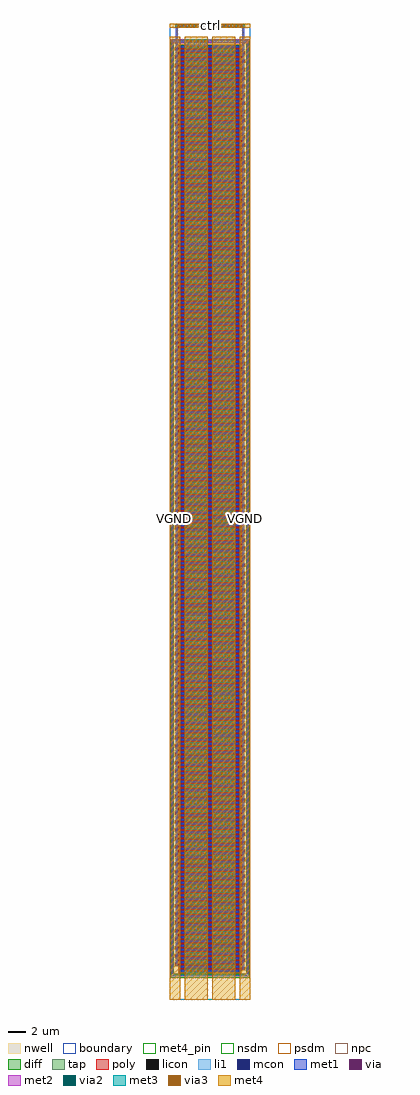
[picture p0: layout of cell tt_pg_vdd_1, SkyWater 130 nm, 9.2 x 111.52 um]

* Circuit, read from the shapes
.subckt tt_pg_vdd_1 GPWR VGND VPWR ctrl
XM1 GPWR ctrl VPWR VPWR sky130_fd_pr__pfet_01v8 w=7 l=0.15 m=220
.ends

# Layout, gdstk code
import gdstk
lib = gdstk.Library(unit=1e-6, precision=1e-09)
def R(c, l, rs):  # rectangles x0, y0, x1, y1
    for r in rs: c.add(gdstk.rectangle(r[:2], r[2:], *l))
def A(c, l, x, y, w, h, nx, ny, dx, dy):  # array of equal rectangles
    R(c, l, [(x+i*dx, y+j*dy, x+i*dx+w, y+j*dy+h) for i in range(nx) for j in range(ny)])
nwell = (64, 20)
diff = (65, 20)
tap = (65, 44)
poly = (66, 20)
licon = (66, 44)
li1 = (67, 20)
mcon = (67, 44)
met1 = (68, 20)
via = (68, 44)
met2 = (69, 20)
via2 = (69, 44)
met3 = (70, 20)
via3 = (70, 44)
met4_pin = (71, 16)
met4 = (71, 20)
nsdm = (93, 44)
psdm = (94, 20)
npc = (95, 20)
boundary = (235, 4)

tt_pg_vdd_1 = lib.new_cell('tt_pg_vdd_1')
R(tt_pg_vdd_1, nwell, [(0,2.45,9.19,109.72)])
R(tt_pg_vdd_1, diff, [(1.095,3.14,8.095,109.03)])
R(tt_pg_vdd_1, tap, [(0.18,2.63,9.01,2.8), (0.18,2.8,0.35,109.37), (8.84,2.8,9.01,109.37), (0.18,109.37,9.01,109.54)])
A(tt_pg_vdd_1, poly, 0.965, 3.45, 7.615, 0.15, 1, 110, 0, 0.96)
A(tt_pg_vdd_1, poly, 0.61, 3.93, 7.615, 0.15, 1, 110, 0, 0.96)
R(tt_pg_vdd_1, poly, [(8.25,3.36,8.58,3.45), (8.25,3.6,8.58,3.69), (0.61,3.84,0.94,3.93), (0.61,4.08,0.94,4.17), (8.25,4.32,8.58,4.41), (8.25,4.56,8.58,4.65), (0.61,4.8,0.94,4.89), (0.61,5.04,0.94,5.13), (8.25,5.28,8.58,5.37), (8.25,5.52,8.58,5.61), (0.61,5.76,0.94,5.85), (0.61,6,0.94,6.09), (8.25,6.24,8.58,6.33), (8.25,6.48,8.58,6.57), (0.61,6.72,0.94,6.81), (0.61,6.96,0.94,7.05), (8.25,7.2,8.58,7.29), (8.25,7.44,8.58,7.53), (0.61,7.68,0.94,7.77), (0.61,7.92,0.94,8.01), (8.25,8.16,8.58,8.25), (8.25,8.4,8.58,8.49), (0.61,8.64,0.94,8.73), (0.61,8.88,0.94,8.97), (8.25,9.12,8.58,9.21), (8.25,9.36,8.58,9.45), (0.61,9.6,0.94,9.69), (0.61,9.84,0.94,9.93), (8.25,10.08,8.58,10.17), (8.25,10.32,8.58,10.41), (0.61,10.56,0.94,10.65), (0.61,10.8,0.94,10.89), (8.25,11.04,8.58,11.13), (8.25,11.28,8.58,11.37), (0.61,11.52,0.94,11.61), (0.61,11.76,0.94,11.85), (8.25,12,8.58,12.09), (8.25,12.24,8.58,12.33), (0.61,12.48,0.94,12.57), (0.61,12.72,0.94,12.81), (8.25,12.96,8.58,13.05), (8.25,13.2,8.58,13.29), (0.61,13.44,0.94,13.53), (0.61,13.68,0.94,13.77), (8.25,13.92,8.58,14.01), (8.25,14.16,8.58,14.25), (0.61,14.4,0.94,14.49), (0.61,14.64,0.94,14.73), (8.25,14.88,8.58,14.97), (8.25,15.12,8.58,15.21), (0.61,15.36,0.94,15.45), (0.61,15.6,0.94,15.69), (8.25,15.84,8.58,15.93), (8.25,16.08,8.58,16.17), (0.61,16.32,0.94,16.41), (0.61,16.56,0.94,16.65), (8.25,16.8,8.58,16.89), (8.25,17.04,8.58,17.13), (0.61,17.28,0.94,17.37), (0.61,17.52,0.94,17.61), (8.25,17.76,8.58,17.85), (8.25,18,8.58,18.09), (0.61,18.24,0.94,18.33), (0.61,18.48,0.94,18.57), (8.25,18.72,8.58,18.81), (8.25,18.96,8.58,19.05), (0.61,19.2,0.94,19.29), (0.61,19.44,0.94,19.53), (8.25,19.68,8.58,19.77), (8.25,19.92,8.58,20.01), (0.61,20.16,0.94,20.25), (0.61,20.4,0.94,20.49), (8.25,20.64,8.58,20.73), (8.25,20.88,8.58,20.97), (0.61,21.12,0.94,21.21), (0.61,21.36,0.94,21.45), (8.25,21.6,8.58,21.69), (8.25,21.84,8.58,21.93), (0.61,22.08,0.94,22.17), (0.61,22.32,0.94,22.41), (8.25,22.56,8.58,22.65), (8.25,22.8,8.58,22.89), (0.61,23.04,0.94,23.13), (0.61,23.28,0.94,23.37), (8.25,23.52,8.58,23.61), (8.25,23.76,8.58,23.85), (0.61,24,0.94,24.09), (0.61,24.24,0.94,24.33), (8.25,24.48,8.58,24.57), (8.25,24.72,8.58,24.81), (0.61,24.96,0.94,25.05), (0.61,25.2,0.94,25.29), (8.25,25.44,8.58,25.53), (8.25,25.68,8.58,25.77), (0.61,25.92,0.94,26.01), (0.61,26.16,0.94,26.25), (8.25,26.4,8.58,26.49), (8.25,26.64,8.58,26.73), (0.61,26.88,0.94,26.97), (0.61,27.12,0.94,27.21), (8.25,27.36,8.58,27.45), (8.25,27.6,8.58,27.69), (0.61,27.84,0.94,27.93), (0.61,28.08,0.94,28.17), (8.25,28.32,8.58,28.41), (8.25,28.56,8.58,28.65), (0.61,28.8,0.94,28.89), (0.61,29.04,0.94,29.13), (8.25,29.28,8.58,29.37), (8.25,29.52,8.58,29.61), (0.61,29.76,0.94,29.85), (0.61,30,0.94,30.09), (8.25,30.24,8.58,30.33), (8.25,30.48,8.58,30.57), (0.61,30.72,0.94,30.81), (0.61,30.96,0.94,31.05), (8.25,31.2,8.58,31.29), (8.25,31.44,8.58,31.53), (0.61,31.68,0.94,31.77), (0.61,31.92,0.94,32.01), (8.25,32.16,8.58,32.25), (8.25,32.4,8.58,32.49), (0.61,32.64,0.94,32.73), (0.61,32.88,0.94,32.97), (8.25,33.12,8.58,33.21), (8.25,33.36,8.58,33.45), (0.61,33.6,0.94,33.69), (0.61,33.84,0.94,33.93), (8.25,34.08,8.58,34.17), (8.25,34.32,8.58,34.41), (0.61,34.56,0.94,34.65), (0.61,34.8,0.94,34.89), (8.25,35.04,8.58,35.13), (8.25,35.28,8.58,35.37), (0.61,35.52,0.94,35.61), (0.61,35.76,0.94,35.85), (8.25,36,8.58,36.09), (8.25,36.24,8.58,36.33), (0.61,36.48,0.94,36.57), (0.61,36.72,0.94,36.81), (8.25,36.96,8.58,37.05), (8.25,37.2,8.58,37.29), (0.61,37.44,0.94,37.53), (0.61,37.68,0.94,37.77), (8.25,37.92,8.58,38.01), (8.25,38.16,8.58,38.25), (0.61,38.4,0.94,38.49), (0.61,38.64,0.94,38.73), (8.25,38.88,8.58,38.97), (8.25,39.12,8.58,39.21), (0.61,39.36,0.94,39.45), (0.61,39.6,0.94,39.69), (8.25,39.84,8.58,39.93), (8.25,40.08,8.58,40.17), (0.61,40.32,0.94,40.41), (0.61,40.56,0.94,40.65), (8.25,40.8,8.58,40.89), (8.25,41.04,8.58,41.13), (0.61,41.28,0.94,41.37), (0.61,41.52,0.94,41.61), (8.25,41.76,8.58,41.85), (8.25,42,8.58,42.09), (0.61,42.24,0.94,42.33), (0.61,42.48,0.94,42.57), (8.25,42.72,8.58,42.81), (8.25,42.96,8.58,43.05), (0.61,43.2,0.94,43.29), (0.61,43.44,0.94,43.53), (8.25,43.68,8.58,43.77), (8.25,43.92,8.58,44.01), (0.61,44.16,0.94,44.25), (0.61,44.4,0.94,44.49), (8.25,44.64,8.58,44.73), (8.25,44.88,8.58,44.97), (0.61,45.12,0.94,45.21), (0.61,45.36,0.94,45.45), (8.25,45.6,8.58,45.69), (8.25,45.84,8.58,45.93), (0.61,46.08,0.94,46.17), (0.61,46.32,0.94,46.41), (8.25,46.56,8.58,46.65), (8.25,46.8,8.58,46.89), (0.61,47.04,0.94,47.13), (0.61,47.28,0.94,47.37), (8.25,47.52,8.58,47.61), (8.25,47.76,8.58,47.85), (0.61,48,0.94,48.09), (0.61,48.24,0.94,48.33), (8.25,48.48,8.58,48.57), (8.25,48.72,8.58,48.81), (0.61,48.96,0.94,49.05), (0.61,49.2,0.94,49.29), (8.25,49.44,8.58,49.53), (8.25,49.68,8.58,49.77), (0.61,49.92,0.94,50.01), (0.61,50.16,0.94,50.25), (8.25,50.4,8.58,50.49), (8.25,50.64,8.58,50.73), (0.61,50.88,0.94,50.97), (0.61,51.12,0.94,51.21), (8.25,51.36,8.58,51.45), (8.25,51.6,8.58,51.69), (0.61,51.84,0.94,51.93), (0.61,52.08,0.94,52.17), (8.25,52.32,8.58,52.41), (8.25,52.56,8.58,52.65), (0.61,52.8,0.94,52.89), (0.61,53.04,0.94,53.13), (8.25,53.28,8.58,53.37), (8.25,53.52,8.58,53.61), (0.61,53.76,0.94,53.85), (0.61,54,0.94,54.09), (8.25,54.24,8.58,54.33), (8.25,54.48,8.58,54.57), (0.61,54.72,0.94,54.81), (0.61,54.96,0.94,55.05), (8.25,55.2,8.58,55.29), (8.25,55.44,8.58,55.53), (0.61,55.68,0.94,55.77), (0.61,55.92,0.94,56.01), (8.25,56.16,8.58,56.25), (8.25,56.4,8.58,56.49), (0.61,56.64,0.94,56.73), (0.61,56.88,0.94,56.97), (8.25,57.12,8.58,57.21), (8.25,57.36,8.58,57.45), (0.61,57.6,0.94,57.69), (0.61,57.84,0.94,57.93), (8.25,58.08,8.58,58.17), (8.25,58.32,8.58,58.41), (0.61,58.56,0.94,58.65), (0.61,58.8,0.94,58.89), (8.25,59.04,8.58,59.13), (8.25,59.28,8.58,59.37), (0.61,59.52,0.94,59.61), (0.61,59.76,0.94,59.85), (8.25,60,8.58,60.09), (8.25,60.24,8.58,60.33), (0.61,60.48,0.94,60.57), (0.61,60.72,0.94,60.81), (8.25,60.96,8.58,61.05), (8.25,61.2,8.58,61.29), (0.61,61.44,0.94,61.53), (0.61,61.68,0.94,61.77), (8.25,61.92,8.58,62.01), (8.25,62.16,8.58,62.25), (0.61,62.4,0.94,62.49), (0.61,62.64,0.94,62.73), (8.25,62.88,8.58,62.97), (8.25,63.12,8.58,63.21), (0.61,63.36,0.94,63.45), (0.61,63.6,0.94,63.69), (8.25,63.84,8.58,63.93), (8.25,64.08,8.58,64.17), (0.61,64.32,0.94,64.41), (0.61,64.56,0.94,64.65), (8.25,64.8,8.58,64.89), (8.25,65.04,8.58,65.13), (0.61,65.28,0.94,65.37), (0.61,65.52,0.94,65.61), (8.25,65.76,8.58,65.85), (8.25,66,8.58,66.09), (0.61,66.24,0.94,66.33), (0.61,66.48,0.94,66.57), (8.25,66.72,8.58,66.81), (8.25,66.96,8.58,67.05), (0.61,67.2,0.94,67.29), (0.61,67.44,0.94,67.53), (8.25,67.68,8.58,67.77), (8.25,67.92,8.58,68.01), (0.61,68.16,0.94,68.25), (0.61,68.4,0.94,68.49), (8.25,68.64,8.58,68.73), (8.25,68.88,8.58,68.97), (0.61,69.12,0.94,69.21), (0.61,69.36,0.94,69.45), (8.25,69.6,8.58,69.69), (8.25,69.84,8.58,69.93), (0.61,70.08,0.94,70.17), (0.61,70.32,0.94,70.41), (8.25,70.56,8.58,70.65), (8.25,70.8,8.58,70.89), (0.61,71.04,0.94,71.13), (0.61,71.28,0.94,71.37), (8.25,71.52,8.58,71.61), (8.25,71.76,8.58,71.85), (0.61,72,0.94,72.09), (0.61,72.24,0.94,72.33), (8.25,72.48,8.58,72.57), (8.25,72.72,8.58,72.81), (0.61,72.96,0.94,73.05), (0.61,73.2,0.94,73.29), (8.25,73.44,8.58,73.53), (8.25,73.68,8.58,73.77), (0.61,73.92,0.94,74.01), (0.61,74.16,0.94,74.25), (8.25,74.4,8.58,74.49), (8.25,74.64,8.58,74.73), (0.61,74.88,0.94,74.97), (0.61,75.12,0.94,75.21), (8.25,75.36,8.58,75.45), (8.25,75.6,8.58,75.69), (0.61,75.84,0.94,75.93), (0.61,76.08,0.94,76.17), (8.25,76.32,8.58,76.41), (8.25,76.56,8.58,76.65), (0.61,76.8,0.94,76.89), (0.61,77.04,0.94,77.13), (8.25,77.28,8.58,77.37), (8.25,77.52,8.58,77.61), (0.61,77.76,0.94,77.85), (0.61,78,0.94,78.09), (8.25,78.24,8.58,78.33), (8.25,78.48,8.58,78.57), (0.61,78.72,0.94,78.81), (0.61,78.96,0.94,79.05), (8.25,79.2,8.58,79.29), (8.25,79.44,8.58,79.53), (0.61,79.68,0.94,79.77), (0.61,79.92,0.94,80.01), (8.25,80.16,8.58,80.25), (8.25,80.4,8.58,80.49), (0.61,80.64,0.94,80.73), (0.61,80.88,0.94,80.97), (8.25,81.12,8.58,81.21), (8.25,81.36,8.58,81.45), (0.61,81.6,0.94,81.69), (0.61,81.84,0.94,81.93), (8.25,82.08,8.58,82.17), (8.25,82.32,8.58,82.41), (0.61,82.56,0.94,82.65), (0.61,82.8,0.94,82.89), (8.25,83.04,8.58,83.13), (8.25,83.28,8.58,83.37), (0.61,83.52,0.94,83.61), (0.61,83.76,0.94,83.85), (8.25,84,8.58,84.09), (8.25,84.24,8.58,84.33), (0.61,84.48,0.94,84.57), (0.61,84.72,0.94,84.81), (8.25,84.96,8.58,85.05), (8.25,85.2,8.58,85.29), (0.61,85.44,0.94,85.53), (0.61,85.68,0.94,85.77), (8.25,85.92,8.58,86.01), (8.25,86.16,8.58,86.25), (0.61,86.4,0.94,86.49), (0.61,86.64,0.94,86.73), (8.25,86.88,8.58,86.97), (8.25,87.12,8.58,87.21), (0.61,87.36,0.94,87.45), (0.61,87.6,0.94,87.69), (8.25,87.84,8.58,87.93), (8.25,88.08,8.58,88.17), (0.61,88.32,0.94,88.41), (0.61,88.56,0.94,88.65), (8.25,88.8,8.58,88.89), (8.25,89.04,8.58,89.13), (0.61,89.28,0.94,89.37), (0.61,89.52,0.94,89.61), (8.25,89.76,8.58,89.85), (8.25,90,8.58,90.09), (0.61,90.24,0.94,90.33), (0.61,90.48,0.94,90.57), (8.25,90.72,8.58,90.81), (8.25,90.96,8.58,91.05), (0.61,91.2,0.94,91.29), (0.61,91.44,0.94,91.53), (8.25,91.68,8.58,91.77), (8.25,91.92,8.58,92.01), (0.61,92.16,0.94,92.25), (0.61,92.4,0.94,92.49), (8.25,92.64,8.58,92.73), (8.25,92.88,8.58,92.97), (0.61,93.12,0.94,93.21), (0.61,93.36,0.94,93.45), (8.25,93.6,8.58,93.69), (8.25,93.84,8.58,93.93), (0.61,94.08,0.94,94.17), (0.61,94.32,0.94,94.41), (8.25,94.56,8.58,94.65), (8.25,94.8,8.58,94.89), (0.61,95.04,0.94,95.13), (0.61,95.28,0.94,95.37), (8.25,95.52,8.58,95.61), (8.25,95.76,8.58,95.85), (0.61,96,0.94,96.09), (0.61,96.24,0.94,96.33), (8.25,96.48,8.58,96.57), (8.25,96.72,8.58,96.81), (0.61,96.96,0.94,97.05), (0.61,97.2,0.94,97.29), (8.25,97.44,8.58,97.53), (8.25,97.68,8.58,97.77), (0.61,97.92,0.94,98.01), (0.61,98.16,0.94,98.25), (8.25,98.4,8.58,98.49), (8.25,98.64,8.58,98.73), (0.61,98.88,0.94,98.97), (0.61,99.12,0.94,99.21), (8.25,99.36,8.58,99.45), (8.25,99.6,8.58,99.69), (0.61,99.84,0.94,99.93), (0.61,100.08,0.94,100.17), (8.25,100.32,8.58,100.41), (8.25,100.56,8.58,100.65), (0.61,100.8,0.94,100.89), (0.61,101.04,0.94,101.13), (8.25,101.28,8.58,101.37), (8.25,101.52,8.58,101.61), (0.61,101.76,0.94,101.85), (0.61,102,0.94,102.09), (8.25,102.24,8.58,102.33), (8.25,102.48,8.58,102.57), (0.61,102.72,0.94,102.81), (0.61,102.96,0.94,103.05), (8.25,103.2,8.58,103.29), (8.25,103.44,8.58,103.53), (0.61,103.68,0.94,103.77), (0.61,103.92,0.94,104.01), (8.25,104.16,8.58,104.25), (8.25,104.4,8.58,104.49), (0.61,104.64,0.94,104.73), (0.61,104.88,0.94,104.97), (8.25,105.12,8.58,105.21), (8.25,105.36,8.58,105.45), (0.61,105.6,0.94,105.69), (0.61,105.84,0.94,105.93), (8.25,106.08,8.58,106.17), (8.25,106.32,8.58,106.41), (0.61,106.56,0.94,106.65), (0.61,106.8,0.94,106.89), (8.25,107.04,8.58,107.13), (8.25,107.28,8.58,107.37), (0.61,107.52,0.94,107.61), (0.61,107.76,0.94,107.85), (8.25,108,8.58,108.09), (8.25,108.24,8.58,108.33), (0.61,108.48,0.94,108.57), (0.61,108.72,0.94,108.81)])
A(tt_pg_vdd_1, licon, 0.77, 2.63, 0.17, 0.17, 23, 2, 0.34, 106.74)
A(tt_pg_vdd_1, licon, 0.18, 3.13, 0.17, 0.17, 1, 312, 0, 0.34)
A(tt_pg_vdd_1, licon, 8.84, 3.13, 0.17, 0.17, 1, 312, 0, 0.34)
A(tt_pg_vdd_1, licon, 1.28, 3.2, 0.17, 0.17, 20, 221, 0.34, 0.48)
A(tt_pg_vdd_1, licon, 8.33, 3.44, 0.17, 0.17, 1, 110, 0, 0.96)
A(tt_pg_vdd_1, licon, 0.69, 3.92, 0.17, 0.17, 1, 110, 0, 0.96)
A(tt_pg_vdd_1, li1, 1.075, 3.2, 7.04, 0.17, 1, 221, 0, 0.48)
A(tt_pg_vdd_1, li1, 8.33, 3.36, 0.17, 0.33, 1, 110, 0, 0.96)
A(tt_pg_vdd_1, li1, 0.69, 3.84, 0.17, 0.33, 1, 110, 0, 0.96)
R(tt_pg_vdd_1, li1, [(0.18,2.63,9.01,2.8), (0.18,2.8,0.35,109.37), (8.84,2.8,9.01,109.37), (1.64,109.34,4.41,109.37), (0.18,109.37,9.01,109.54), (1.64,109.54,4.41,109.66)])
A(tt_pg_vdd_1, mcon, 0.18, 3.08, 0.17, 0.17, 1, 295, 0, 0.36)
A(tt_pg_vdd_1, mcon, 8.84, 3.08, 0.17, 0.17, 1, 295, 0, 0.36)
A(tt_pg_vdd_1, mcon, 1.27, 3.2, 0.17, 0.17, 19, 221, 0.36, 0.48)
A(tt_pg_vdd_1, mcon, 8.33, 3.44, 0.17, 0.17, 1, 110, 0, 0.96)
A(tt_pg_vdd_1, mcon, 0.69, 3.92, 0.17, 0.17, 1, 110, 0, 0.96)
A(tt_pg_vdd_1, mcon, 1.68, 109.415, 0.17, 0.17, 8, 1, 0.36, 0)
A(tt_pg_vdd_1, met1, 1.095, 3.17, 7, 0.23, 1, 221, 0, 0.48)
R(tt_pg_vdd_1, met1, [(0.15,2.94,0.38,109.31), (8.81,2.94,9.04,109.31), (1.71,3.12,4.34,3.17), (8.3,3.38,8.53,111.02), (1.71,3.4,4.34,3.45), (4.85,3.6,7.5,3.65), (0.66,3.86,0.89,111.02), (4.85,3.88,7.5,3.93), (1.71,4.08,4.34,4.13), (1.71,4.36,4.34,4.41), (4.85,4.56,7.5,4.61), (4.85,4.84,7.5,4.89), (1.71,5.04,4.34,5.09), (1.71,5.32,4.34,5.37), (4.85,5.52,7.5,5.57), (4.85,5.8,7.5,5.85), (1.71,6,4.34,6.05), (1.71,6.28,4.34,6.33), (4.85,6.48,7.5,6.53), (4.85,6.76,7.5,6.81), (1.71,6.96,4.34,7.01), (1.71,7.24,4.34,7.29), (4.85,7.44,7.5,7.49), (4.85,7.72,7.5,7.77), (1.71,7.92,4.34,7.97), (1.71,8.2,4.34,8.25), (4.85,8.4,7.5,8.45), (4.85,8.68,7.5,8.73), (1.71,8.88,4.34,8.93), (1.71,9.16,4.34,9.21), (4.85,9.36,7.5,9.41), (4.85,9.64,7.5,9.69), (1.71,9.84,4.34,9.89), (1.71,10.12,4.34,10.17), (4.85,10.32,7.5,10.37), (4.85,10.6,7.5,10.65), (1.71,10.8,4.34,10.85), (1.71,11.08,4.34,11.13), (4.85,11.28,7.5,11.33), (4.85,11.56,7.5,11.61), (1.71,11.76,4.34,11.81), (1.71,12.04,4.34,12.09), (4.85,12.24,7.5,12.29), (4.85,12.52,7.5,12.57), (1.71,12.72,4.34,12.77), (1.71,13,4.34,13.05), (4.85,13.2,7.5,13.25), (4.85,13.48,7.5,13.53), (1.71,13.68,4.34,13.73), (1.71,13.96,4.34,14.01), (4.85,14.16,7.5,14.21), (4.85,14.44,7.5,14.49), (1.71,14.64,4.34,14.69), (1.71,14.92,4.34,14.97), (4.85,15.12,7.5,15.17), (4.85,15.4,7.5,15.45), (1.71,15.6,4.34,15.65), (1.71,15.88,4.34,15.93), (4.85,16.08,7.5,16.13), (4.85,16.36,7.5,16.41), (1.71,16.56,4.34,16.61), (1.71,16.84,4.34,16.89), (4.85,17.04,7.5,17.09), (4.85,17.32,7.5,17.37), (1.71,17.52,4.34,17.57), (1.71,17.8,4.34,17.85), (4.85,18,7.5,18.05), (4.85,18.28,7.5,18.33), (1.71,18.48,4.34,18.53), (1.71,18.76,4.34,18.81), (4.85,18.96,7.5,19.01), (4.85,19.24,7.5,19.29), (1.71,19.44,4.34,19.49), (1.71,19.72,4.34,19.77), (4.85,19.92,7.5,19.97), (4.85,20.2,7.5,20.25), (1.71,20.4,4.34,20.45), (1.71,20.68,4.34,20.73), (4.85,20.88,7.5,20.93), (4.85,21.16,7.5,21.21), (1.71,21.36,4.34,21.41), (1.71,21.64,4.34,21.69), (4.85,21.84,7.5,21.89), (4.85,22.12,7.5,22.17), (1.71,22.32,4.34,22.37), (1.71,22.6,4.34,22.65), (4.85,22.8,7.5,22.85), (4.85,23.08,7.5,23.13), (1.71,23.28,4.34,23.33), (1.71,23.56,4.34,23.61), (4.85,23.76,7.5,23.81), (4.85,24.04,7.5,24.09), (1.71,24.24,4.34,24.29), (1.71,24.52,4.34,24.57), (4.85,24.72,7.5,24.77), (4.85,25,7.5,25.05), (1.71,25.2,4.34,25.25), (1.71,25.48,4.34,25.53), (4.85,25.68,7.5,25.73), (4.85,25.96,7.5,26.01), (1.71,26.16,4.34,26.21), (1.71,26.44,4.34,26.49), (4.85,26.64,7.5,26.69), (4.85,26.92,7.5,26.97), (1.71,27.12,4.34,27.17), (1.71,27.4,4.34,27.45), (4.85,27.6,7.5,27.65), (4.85,27.88,7.5,27.93), (1.71,28.08,4.34,28.13), (1.71,28.36,4.34,28.41), (4.85,28.56,7.5,28.61), (4.85,28.84,7.5,28.89), (1.71,29.04,4.34,29.09), (1.71,29.32,4.34,29.37), (4.85,29.52,7.5,29.57), (4.85,29.8,7.5,29.85), (1.71,30,4.34,30.05), (1.71,30.28,4.34,30.33), (4.85,30.48,7.5,30.53), (4.85,30.76,7.5,30.81), (1.71,30.96,4.34,31.01), (1.71,31.24,4.34,31.29), (4.85,31.44,7.5,31.49), (4.85,31.72,7.5,31.77), (1.71,31.92,4.34,31.97), (1.71,32.2,4.34,32.25), (4.85,32.4,7.5,32.45), (4.85,32.68,7.5,32.73), (1.71,32.88,4.34,32.93), (1.71,33.16,4.34,33.21), (4.85,33.36,7.5,33.41), (4.85,33.64,7.5,33.69), (1.71,33.84,4.34,33.89), (1.71,34.12,4.34,34.17), (4.85,34.32,7.5,34.37), (4.85,34.6,7.5,34.65), (1.71,34.8,4.34,34.85), (1.71,35.08,4.34,35.13), (4.85,35.28,7.5,35.33), (4.85,35.56,7.5,35.61), (1.71,35.76,4.34,35.81), (1.71,36.04,4.34,36.09), (4.85,36.24,7.5,36.29), (4.85,36.52,7.5,36.57), (1.71,36.72,4.34,36.77), (1.71,37,4.34,37.05), (4.85,37.2,7.5,37.25), (4.85,37.48,7.5,37.53), (1.71,37.68,4.34,37.73), (1.71,37.96,4.34,38.01), (4.85,38.16,7.5,38.21), (4.85,38.44,7.5,38.49), (1.71,38.64,4.34,38.69), (1.71,38.92,4.34,38.97), (4.85,39.12,7.5,39.17), (4.85,39.4,7.5,39.45), (1.71,39.6,4.34,39.65), (1.71,39.88,4.34,39.93), (4.85,40.08,7.5,40.13), (4.85,40.36,7.5,40.41), (1.71,40.56,4.34,40.61), (1.71,40.84,4.34,40.89), (4.85,41.04,7.5,41.09), (4.85,41.32,7.5,41.37), (1.71,41.52,4.34,41.57), (1.71,41.8,4.34,41.85), (4.85,42,7.5,42.05), (4.85,42.28,7.5,42.33), (1.71,42.48,4.34,42.53), (1.71,42.76,4.34,42.81), (4.85,42.96,7.5,43.01), (4.85,43.24,7.5,43.29), (1.71,43.44,4.34,43.49), (1.71,43.72,4.34,43.77), (4.85,43.92,7.5,43.97), (4.85,44.2,7.5,44.25), (1.71,44.4,4.34,44.45), (1.71,44.68,4.34,44.73), (4.85,44.88,7.5,44.93), (4.85,45.16,7.5,45.21), (1.71,45.36,4.34,45.41), (1.71,45.64,4.34,45.69), (4.85,45.84,7.5,45.89), (4.85,46.12,7.5,46.17), (1.71,46.32,4.34,46.37), (1.71,46.6,4.34,46.65), (4.85,46.8,7.5,46.85), (4.85,47.08,7.5,47.13), (1.71,47.28,4.34,47.33), (1.71,47.56,4.34,47.61), (4.85,47.76,7.5,47.81), (4.85,48.04,7.5,48.09), (1.71,48.24,4.34,48.29), (1.71,48.52,4.34,48.57), (4.85,48.72,7.5,48.77), (4.85,49,7.5,49.05), (1.71,49.2,4.34,49.25), (1.71,49.48,4.34,49.53), (4.85,49.68,7.5,49.73), (4.85,49.96,7.5,50.01), (1.71,50.16,4.34,50.21), (1.71,50.44,4.34,50.49), (4.85,50.64,7.5,50.69), (4.85,50.92,7.5,50.97), (1.71,51.12,4.34,51.17), (1.71,51.4,4.34,51.45), (4.85,51.6,7.5,51.65), (4.85,51.88,7.5,51.93), (1.71,52.08,4.34,52.13), (1.71,52.36,4.34,52.41), (4.85,52.56,7.5,52.61), (4.85,52.84,7.5,52.89), (1.71,53.04,4.34,53.09), (1.71,53.32,4.34,53.37), (4.85,53.52,7.5,53.57), (4.85,53.8,7.5,53.85), (1.71,54,4.34,54.05), (1.71,54.28,4.34,54.33), (4.85,54.48,7.5,54.53), (4.85,54.76,7.5,54.81), (1.71,54.96,4.34,55.01), (1.71,55.24,4.34,55.29), (4.85,55.44,7.5,55.49), (4.85,55.72,7.5,55.77), (1.71,55.92,4.34,55.97), (1.71,56.2,4.34,56.25), (4.85,56.4,7.5,56.45), (4.85,56.68,7.5,56.73), (1.71,56.88,4.34,56.93), (1.71,57.16,4.34,57.21), (4.85,57.36,7.5,57.41), (4.85,57.64,7.5,57.69), (1.71,57.84,4.34,57.89), (1.71,58.12,4.34,58.17), (4.85,58.32,7.5,58.37), (4.85,58.6,7.5,58.65), (1.71,58.8,4.34,58.85), (1.71,59.08,4.34,59.13), (4.85,59.28,7.5,59.33), (4.85,59.56,7.5,59.61), (1.71,59.76,4.34,59.81), (1.71,60.04,4.34,60.09), (4.85,60.24,7.5,60.29), (4.85,60.52,7.5,60.57), (1.71,60.72,4.34,60.77), (1.71,61,4.34,61.05), (4.85,61.2,7.5,61.25), (4.85,61.48,7.5,61.53), (1.71,61.68,4.34,61.73), (1.71,61.96,4.34,62.01), (4.85,62.16,7.5,62.21), (4.85,62.44,7.5,62.49), (1.71,62.64,4.34,62.69), (1.71,62.92,4.34,62.97), (4.85,63.12,7.5,63.17), (4.85,63.4,7.5,63.45), (1.71,63.6,4.34,63.65), (1.71,63.88,4.34,63.93), (4.85,64.08,7.5,64.13), (4.85,64.36,7.5,64.41), (1.71,64.56,4.34,64.61), (1.71,64.84,4.34,64.89), (4.85,65.04,7.5,65.09), (4.85,65.32,7.5,65.37), (1.71,65.52,4.34,65.57), (1.71,65.8,4.34,65.85), (4.85,66,7.5,66.05), (4.85,66.28,7.5,66.33), (1.71,66.48,4.34,66.53), (1.71,66.76,4.34,66.81), (4.85,66.96,7.5,67.01), (4.85,67.24,7.5,67.29), (1.71,67.44,4.34,67.49), (1.71,67.72,4.34,67.77), (4.85,67.92,7.5,67.97), (4.85,68.2,7.5,68.25), (1.71,68.4,4.34,68.45), (1.71,68.68,4.34,68.73), (4.85,68.88,7.5,68.93), (4.85,69.16,7.5,69.21), (1.71,69.36,4.34,69.41), (1.71,69.64,4.34,69.69), (4.85,69.84,7.5,69.89), (4.85,70.12,7.5,70.17), (1.71,70.32,4.34,70.37), (1.71,70.6,4.34,70.65), (4.85,70.8,7.5,70.85), (4.85,71.08,7.5,71.13), (1.71,71.28,4.34,71.33), (1.71,71.56,4.34,71.61), (4.85,71.76,7.5,71.81), (4.85,72.04,7.5,72.09), (1.71,72.24,4.34,72.29), (1.71,72.52,4.34,72.57), (4.85,72.72,7.5,72.77), (4.85,73,7.5,73.05), (1.71,73.2,4.34,73.25), (1.71,73.48,4.34,73.53), (4.85,73.68,7.5,73.73), (4.85,73.96,7.5,74.01), (1.71,74.16,4.34,74.21), (1.71,74.44,4.34,74.49), (4.85,74.64,7.5,74.69), (4.85,74.92,7.5,74.97), (1.71,75.12,4.34,75.17), (1.71,75.4,4.34,75.45), (4.85,75.6,7.5,75.65), (4.85,75.88,7.5,75.93), (1.71,76.08,4.34,76.13), (1.71,76.36,4.34,76.41), (4.85,76.56,7.5,76.61), (4.85,76.84,7.5,76.89), (1.71,77.04,4.34,77.09), (1.71,77.32,4.34,77.37), (4.85,77.52,7.5,77.57), (4.85,77.8,7.5,77.85), (1.71,78,4.34,78.05), (1.71,78.28,4.34,78.33), (4.85,78.48,7.5,78.53), (4.85,78.76,7.5,78.81), (1.71,78.96,4.34,79.01), (1.71,79.24,4.34,79.29), (4.85,79.44,7.5,79.49), (4.85,79.72,7.5,79.77), (1.71,79.92,4.34,79.97), (1.71,80.2,4.34,80.25), (4.85,80.4,7.5,80.45), (4.85,80.68,7.5,80.73), (1.71,80.88,4.34,80.93), (1.71,81.16,4.34,81.21), (4.85,81.36,7.5,81.41), (4.85,81.64,7.5,81.69), (1.71,81.84,4.34,81.89), (1.71,82.12,4.34,82.17), (4.85,82.32,7.5,82.37), (4.85,82.6,7.5,82.65), (1.71,82.8,4.34,82.85), (1.71,83.08,4.34,83.13), (4.85,83.28,7.5,83.33), (4.85,83.56,7.5,83.61), (1.71,83.76,4.34,83.81), (1.71,84.04,4.34,84.09), (4.85,84.24,7.5,84.29), (4.85,84.52,7.5,84.57), (1.71,84.72,4.34,84.77), (1.71,85,4.34,85.05), (4.85,85.2,7.5,85.25), (4.85,85.48,7.5,85.53), (1.71,85.68,4.34,85.73), (1.71,85.96,4.34,86.01), (4.85,86.16,7.5,86.21), (4.85,86.44,7.5,86.49), (1.71,86.64,4.34,86.69), (1.71,86.92,4.34,86.97), (4.85,87.12,7.5,87.17), (4.85,87.4,7.5,87.45), (1.71,87.6,4.34,87.65), (1.71,87.88,4.34,87.93), (4.85,88.08,7.5,88.13), (4.85,88.36,7.5,88.41), (1.71,88.56,4.34,88.61), (1.71,88.84,4.34,88.89), (4.85,89.04,7.5,89.09), (4.85,89.32,7.5,89.37), (1.71,89.52,4.34,89.57), (1.71,89.8,4.34,89.85), (4.85,90,7.5,90.05), (4.85,90.28,7.5,90.33), (1.71,90.48,4.34,90.53), (1.71,90.76,4.34,90.81), (4.85,90.96,7.5,91.01), (4.85,91.24,7.5,91.29), (1.71,91.44,4.34,91.49), (1.71,91.72,4.34,91.77), (4.85,91.92,7.5,91.97), (4.85,92.2,7.5,92.25), (1.71,92.4,4.34,92.45), (1.71,92.68,4.34,92.73), (4.85,92.88,7.5,92.93), (4.85,93.16,7.5,93.21), (1.71,93.36,4.34,93.41), (1.71,93.64,4.34,93.69), (4.85,93.84,7.5,93.89), (4.85,94.12,7.5,94.17), (1.71,94.32,4.34,94.37), (1.71,94.6,4.34,94.65), (4.85,94.8,7.5,94.85), (4.85,95.08,7.5,95.13), (1.71,95.28,4.34,95.33), (1.71,95.56,4.34,95.61), (4.85,95.76,7.5,95.81), (4.85,96.04,7.5,96.09), (1.71,96.24,4.34,96.29), (1.71,96.52,4.34,96.57), (4.85,96.72,7.5,96.77), (4.85,97,7.5,97.05), (1.71,97.2,4.34,97.25), (1.71,97.48,4.34,97.53), (4.85,97.68,7.5,97.73), (4.85,97.96,7.5,98.01), (1.71,98.16,4.34,98.21), (1.71,98.44,4.34,98.49), (4.85,98.64,7.5,98.69), (4.85,98.92,7.5,98.97), (1.71,99.12,4.34,99.17), (1.71,99.4,4.34,99.45), (4.85,99.6,7.5,99.65), (4.85,99.88,7.5,99.93), (1.71,100.08,4.34,100.13), (1.71,100.36,4.34,100.41), (4.85,100.56,7.5,100.61), (4.85,100.84,7.5,100.89), (1.71,101.04,4.34,101.09), (1.71,101.32,4.34,101.37), (4.85,101.52,7.5,101.57), (4.85,101.8,7.5,101.85), (1.71,102,4.34,102.05), (1.71,102.28,4.34,102.33), (4.85,102.48,7.5,102.53), (4.85,102.76,7.5,102.81), (1.71,102.96,4.34,103.01), (1.71,103.24,4.34,103.29), (4.85,103.44,7.5,103.49), (4.85,103.72,7.5,103.77), (1.71,103.92,4.34,103.97), (1.71,104.2,4.34,104.25), (4.85,104.4,7.5,104.45), (4.85,104.68,7.5,104.73), (1.71,104.88,4.34,104.93), (1.71,105.16,4.34,105.21), (4.85,105.36,7.5,105.41), (4.85,105.64,7.5,105.69), (1.71,105.84,4.34,105.89), (1.71,106.12,4.34,106.17), (4.85,106.32,7.5,106.37), (4.85,106.6,7.5,106.65), (1.71,106.8,4.34,106.85), (1.71,107.08,4.34,107.13), (4.85,107.28,7.5,107.33), (4.85,107.56,7.5,107.61), (1.71,107.76,4.34,107.81), (1.71,108.04,4.34,108.09), (4.85,108.24,7.5,108.29), (4.85,108.52,7.5,108.57), (1.71,108.72,4.34,108.77), (1.71,109,4.34,109.05), (0.15,109.31,0.47,109.69), (1.58,109.31,4.47,109.69), (8.72,109.31,9.04,109.69), (0.61,111.02,8.58,111.52)])
A(tt_pg_vdd_1, via, 1.83, 3.21, 0.15, 0.15, 8, 111, 0.32, 0.96)
A(tt_pg_vdd_1, via, 4.98, 3.69, 0.15, 0.15, 8, 110, 0.32, 0.96)
A(tt_pg_vdd_1, via, 1.83, 109.43, 0.15, 0.15, 8, 1, 0.32, 0)
A(tt_pg_vdd_1, via, 0.84, 111.195, 0.15, 0.15, 24, 1, 0.32, 0)
R(tt_pg_vdd_1, via, [(0.235,109.425,0.385,109.575), (8.805,109.425,8.955,109.575)])
A(tt_pg_vdd_1, met2, 1.71, 3.07, 2.63, 0.43, 1, 111, 0, 0.96)
A(tt_pg_vdd_1, met2, 4.85, 3.55, 2.65, 0.43, 1, 110, 0, 0.96)
R(tt_pg_vdd_1, met2, [(0.15,109.29,9.04,109.71), (0.66,111.06,8.53,111.48)])
A(tt_pg_vdd_1, via2, 1.925, 3.185, 0.2, 0.2, 6, 111, 0.4, 0.96)
A(tt_pg_vdd_1, via2, 5.075, 3.665, 0.2, 0.2, 6, 110, 0.4, 0.96)
A(tt_pg_vdd_1, via2, 1.925, 109.405, 0.2, 0.2, 6, 1, 0.4, 0)
A(tt_pg_vdd_1, via2, 0.895, 111.17, 0.2, 0.2, 19, 1, 0.4, 0)
A(tt_pg_vdd_1, met3, 1.71, 3.07, 2.63, 0.43, 1, 111, 0, 0.96)
A(tt_pg_vdd_1, met3, 4.85, 3.55, 2.65, 0.43, 1, 110, 0, 0.96)
R(tt_pg_vdd_1, met3, [(1.72,109.1,4.34,109.72), (0.61,111.085,8.58,111.455)])
A(tt_pg_vdd_1, via3, 1.925, 3.185, 0.2, 0.2, 6, 111, 0.4, 0.96)
A(tt_pg_vdd_1, via3, 5.075, 3.665, 0.2, 0.2, 6, 110, 0.4, 0.96)
A(tt_pg_vdd_1, via3, 1.925, 109.405, 0.2, 0.2, 6, 1, 0.4, 0)
A(tt_pg_vdd_1, via3, 0.895, 111.17, 0.2, 0.2, 19, 1, 0.4, 0)
R(tt_pg_vdd_1, met4_pin, [(0,0,1.2,110), (1.7,0,4.35,110), (4.85,0,7.5,110), (8,0,9.2,110), (0,111.02,9.2,111.52)])
R(tt_pg_vdd_1, met4, [(0,0,1.2,110), (1.7,0,4.35,3.405), (4.85,0,7.5,110), (8,0,9.2,110), (1.695,3.405,4.355,3.735), (1.7,3.735,4.35,4.365), (1.695,4.365,4.355,4.695), (1.7,4.695,4.35,5.315), (1.695,5.315,4.355,5.645), (1.7,5.645,4.35,6.285), (1.695,6.285,4.355,6.615), (1.7,6.615,4.35,7.245), (1.695,7.245,4.355,7.575), (1.7,7.575,4.35,8.195), (1.695,8.195,4.355,8.525), (1.7,8.525,4.35,9.165), (1.695,9.165,4.355,9.495), (1.7,9.495,4.35,10.115), (1.695,10.115,4.355,10.445), (1.7,10.445,4.35,110), (0,111.02,9.2,111.52)])
R(tt_pg_vdd_1, nsdm, [(0.055,2.505,9.135,2.925), (0.055,2.925,0.475,109.245), (8.715,2.925,9.135,109.245), (0.055,109.245,9.135,109.665)])
R(tt_pg_vdd_1, psdm, [(0.97,3.015,8.22,109.155)])
A(tt_pg_vdd_1, npc, 8.23, 3.34, 0.37, 0.37, 1, 110, 0, 0.96)
A(tt_pg_vdd_1, npc, 0.59, 3.82, 0.37, 0.37, 1, 110, 0, 0.96)
R(tt_pg_vdd_1, boundary, [(0,0,9.2,111.52)])
tt_pg_vdd_1.add(gdstk.Label('VGND', (8.6,55), layer=71, texttype=5))
tt_pg_vdd_1.add(gdstk.Label('VGND', (0.6,55), layer=71, texttype=5))
tt_pg_vdd_1.add(gdstk.Label('VPWR', (3.025,55), layer=71, texttype=5))
tt_pg_vdd_1.add(gdstk.Label('GPWR', (6.175,55), layer=71, texttype=5))
tt_pg_vdd_1.add(gdstk.Label('ctrl', (4.6,111.27), layer=71, texttype=5))

lib.write_gds('tt_pg_vdd_1.gds')
